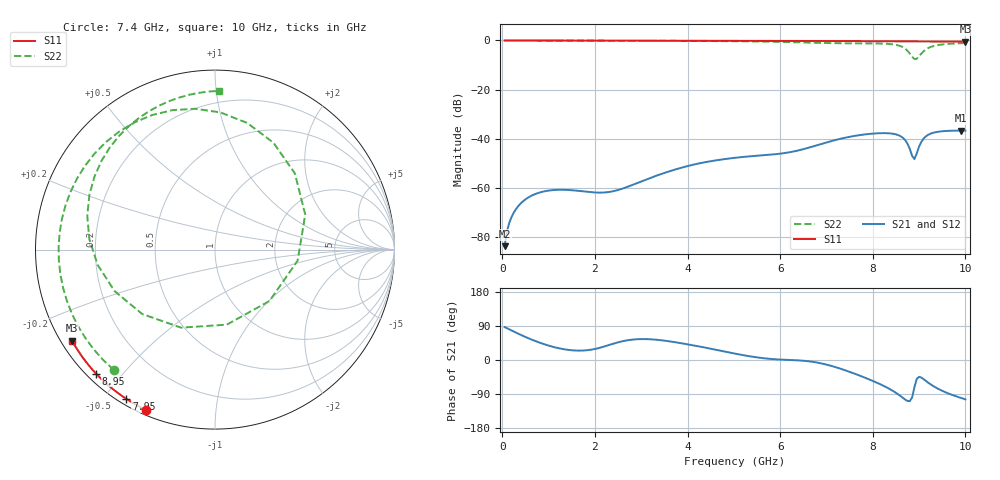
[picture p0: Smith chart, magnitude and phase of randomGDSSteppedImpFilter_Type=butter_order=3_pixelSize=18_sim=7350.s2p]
! freq	dB(S11)	phase(S11)	dB(S12)	phase(S12)
!  dB(S21)	phase(S21)	dB(S22)	phase(S22)
!S-par simulation data
#  GHz  S  DB  R 50
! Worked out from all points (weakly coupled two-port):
!   200 points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, 50 MHz to 10 GHz, reference 50 ohm
!   highest |S21| = -36.75 dB at 9.9 GHz (marker M1); lowest = -83.9 dB at 50 MHz (marker M2)
!   lowest |S11| = -0.5 dB at 10 GHz (marker M3), VSWR 34.97, Z = 1.55 - j14.6 ohm
!   |S11| at or under -10 dB: nowhere
!   |S22| runs from -7.6 to 0.0 dB; largest |S21 - S12| = 0
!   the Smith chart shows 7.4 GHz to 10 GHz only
!   S11 on the Smith chart (normalised r, x): 7.4 GHz: 0.02, -0.66; 7.95 GHz: 0.02, -0.57; 8.95 GHz: 0.03, -0.43; 10 GHz: 0.03, -0.29
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0.05  -0.00 -0.9  -83.88 86.9  -83.88 86.9  -0.01 -5.4
0.35  -0.01 -6.0  -67.43 69.1  -67.43 69.1  -0.05 -36.4
0.8  -0.02 -13.6  -62.03 46.1  -62.03 46.1  -0.09 -77.5
1.75  -0.04 -29.5  -61.54 25.0  -61.54 25.0  -0.11 -139.9
2.5  -0.05 -41.8  -60.97 46.7  -60.97 46.7  -0.13 -174.9
3.4  -0.07 -56.0  -54.65 52.6  -54.65 52.6  -0.15 148.9
4.35  -0.10 -70.5  -49.75 33.5  -49.75 33.5  -0.22 109.4
5.05  -0.12 -80.9  -47.79 16.2  -47.79 16.2  -0.31 74.6
6  -0.17 -94.4  -46.16 1.2  -46.16 1.2  -0.59 9.9
6.7  -0.20 -104.0  -43.26 -4.8  -43.26 -4.8  -0.93 -56.1
7.05  -0.22 -108.7  -41.31 -13.7  -41.31 -13.7  -1.07 -93.1
7.4  -0.25 -113.4  -39.67 -26.9  -39.67 -26.9  -1.15 -130.0
7.95  -0.29 -120.7  -38.06 -52.6  -38.06 -52.6  -1.20 173.8
8.35  -0.32 -126.0  -37.86 -75.5  -37.86 -75.5  -1.44 129.1
8.6  -0.35 -129.2  -39.04 -95.1  -39.04 -95.1  -2.33 87.7
8.8  -0.36 -131.8  -44.27 -108.5  -44.27 -108.5  -5.36 21.2
8.95  -0.38 -133.8  -46.03 -49.6  -46.03 -49.6  -7.46 -81.1
9.1  -0.39 -135.7  -39.96 -50.7  -39.96 -50.7  -4.36 -157.6
9.25  -0.41 -137.7  -37.99 -64.4  -37.99 -64.4  -2.66 165.1
9.55  -0.44 -141.6  -36.94 -84.1  -36.94 -84.1  -1.53 125.0
9.9  -0.48 -146.2  -36.75 -100.0  -36.75 -100.0  -1.13 95.6
10  -0.50 -147.5  -36.76 -103.8  -36.76 -103.8  -1.07 88.5
